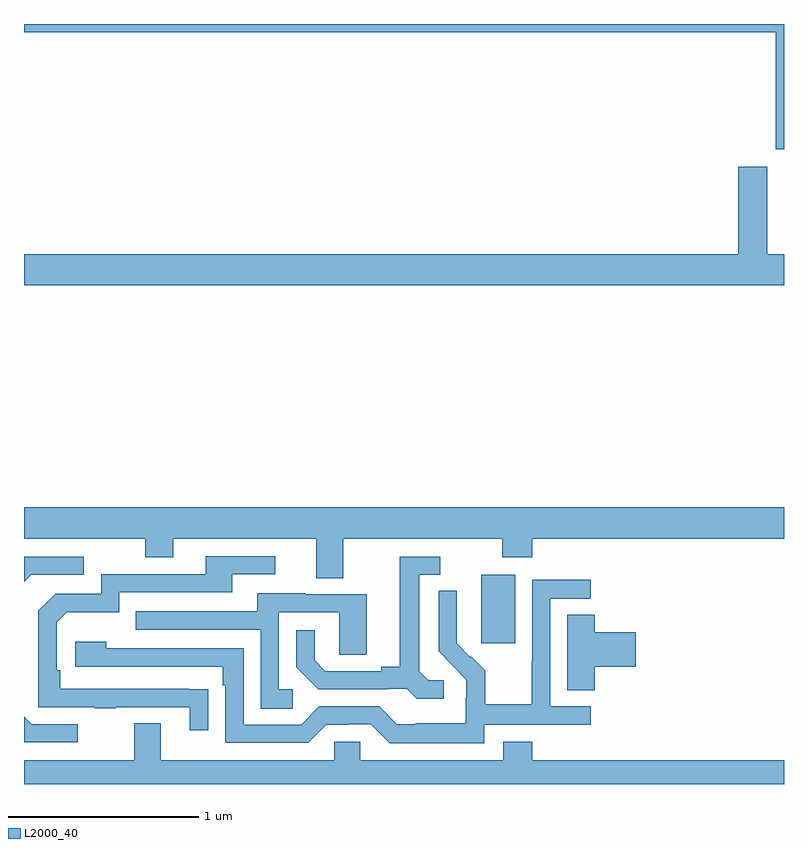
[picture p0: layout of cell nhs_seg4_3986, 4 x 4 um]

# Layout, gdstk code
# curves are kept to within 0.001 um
import gdstk
lib = gdstk.Library(unit=1e-6, precision=1e-09)
def R(c, l, rs):  # rectangles x0, y0, x1, y1
    for r in rs: c.add(gdstk.rectangle(r[:2], r[2:], *l))
def P(c, l, *ps):  # polygons
    for p in ps: c.add(gdstk.Polygon(p, *l))
L2000_40 = (2000, 40)

nhs_seg4_3986 = lib.new_cell('nhs_seg4_3986')
R(nhs_seg4_3986, L2000_40, [(325.406,757.641,325.585,758.002)])
P(nhs_seg4_3986, L2000_40, [(327,760.9),(323,760.9),(323,760.856),(326.957,760.856),(326.957,760.242),(327,760.242)],
  [(327,759.688),(326.911,759.688),(326.911,760.15),(326.759,760.15),(326.759,759.688),(323,759.688),(323,759.524),(327,759.524)],
  [(324.679,758.192),(325.516,758.192),(325.516,758.093),(325.676,758.093),(325.676,758.192),(327,758.192),(327,758.356),(323,758.356),(323,758.192),(323.638,758.192),(323.638,758.093),(323.785,758.093),(323.785,758.192),(324.539,758.192),(324.539,757.984),(324.679,757.984)],
  [(323.969,757.4),(323.192,757.401),(323.192,757.498),(323.172,757.498),(323.172,757.752),(323.225,757.805),(323.502,757.805),(323.502,757.908),(324.097,757.908),(324.097,758.004),(324.322,758.004),(324.322,758.1),(323.957,758.1),(323.957,758.004),(323.406,758.004),(323.406,757.902),(323.166,757.902),(323.076,757.812),(323.076,757.305),(323.371,757.305),(323.371,757.3),(323.483,757.3),(323.483,757.305),(323.873,757.305),(323.873,757.182),(323.969,757.182)],
  [(325.21,757.446),(325.128,757.446),(325.081,757.493),(325.081,758.001),(325.192,758.001),(325.192,758.097),(324.977,758.097),(324.977,757.517),(324.881,757.517),(324.881,757.494),(324.586,757.494),(324.529,757.551),(324.529,757.708),(324.432,757.708),(324.432,757.514),(324.548,757.398),(324.92,757.398),(324.92,757.401),(325.014,757.401),(325.066,757.349),(325.21,757.349)],
  [(323.037,758.001),(323.314,758.001),(323.314,758.097),(323,758.097),(323,757.964)],
  [(325.422,757.212),(325.984,757.212),(325.984,757.308),(325.77,757.308),(325.77,757.875),(325.984,757.875),(325.984,757.974),(325.674,757.974),(325.674,757.544),(325.672,757.544),(325.672,757.321),(325.427,757.321),(325.427,757.495),(325.35,757.572),(325.347,757.569),(325.277,757.64),(325.278,757.916),(325.182,757.916),(325.182,757.598),(325.328,757.45),(325.328,757.353),(325.326,757.353),(325.326,757.219),(325.063,757.219),(325.063,757.215),(324.963,757.215),(324.87,757.308),(324.555,757.308),(324.459,757.212),(324.156,757.212),(324.156,757.614),(323.432,757.614),(323.432,757.648),(323.271,757.648),(323.271,757.518),(324.047,757.518),(324.047,757.421),(324.06,757.421),(324.06,757.116),(324.495,757.116),(324.591,757.212),(324.71,757.212),(324.71,757.215),(324.825,757.215),(324.925,757.115),(325.422,757.115)],
  [(324.415,757.398),(324.342,757.398),(324.342,757.803),(324.66,757.803),(324.66,757.579),(324.805,757.579),(324.805,757.899),(324.481,757.899),(324.481,757.903),(324.227,757.903),(324.227,757.809),(323.587,757.809),(323.587,757.713),(324.246,757.713),(324.246,757.297),(324.415,757.297)],
  [(326.003,757.517),(326.221,757.517),(326.221,757.7),(326.003,757.7),(326.003,757.79),(325.859,757.79),(325.859,757.393),(326.003,757.393)],
  [(323.284,757.215),(323.04,757.215),(323,757.255),(323,757.119),(323.284,757.119)],
  [(327,757.024),(325.676,757.024),(325.676,757.123),(325.523,757.123),(325.523,757.024),(324.771,757.024),(324.771,757.122),(324.633,757.122),(324.633,757.024),(323.719,757.024),(323.719,757.219),(323.579,757.219),(323.579,757.024),(323,757.024),(323,756.9),(327,756.9)])

lib.write_gds('nhs_seg4_3986.gds')
